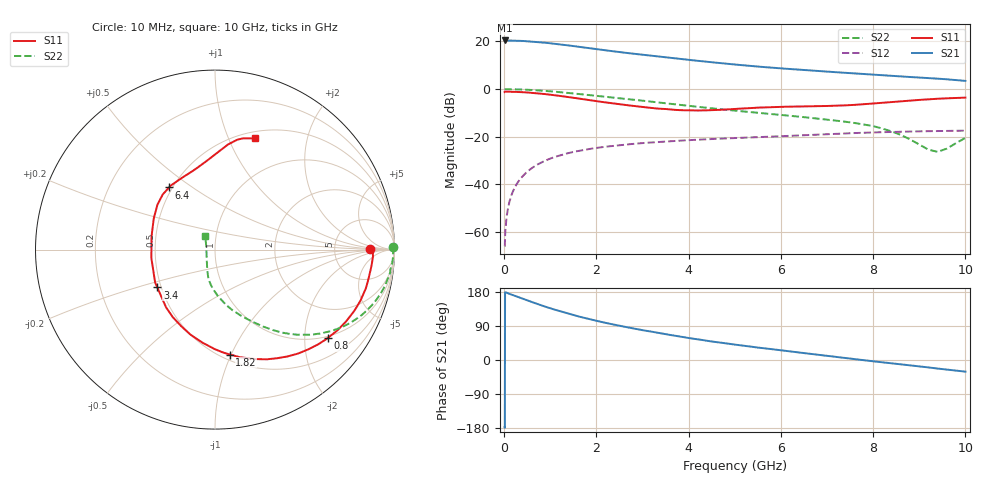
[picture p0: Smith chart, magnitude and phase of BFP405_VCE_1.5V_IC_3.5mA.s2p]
! Infineon Technologies  Discrete & RF Semiconductors
! BFP405
! VCE =  1.5 V,  IC =  3.5 mA
! Common Emitter S-Parameters:  Jan 2016
# GHz  S  MA  R  50
!  f  S11  S21  S12  S22
! GHz  MAG  ANG  MAG  ANG  MAG  ANG  MAG  ANG
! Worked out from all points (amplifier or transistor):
!   233 points, 10 MHz to 10 GHz, reference 50 ohm
!   highest |S21| = 20.4 dB at 10 MHz (marker M1)
!   |S21| within 3 dB of that: start of sweep to 1.751 GHz
!   unconditionally stable (mu >= 1): start of sweep to 13.42 MHz; 3.731 GHz to end of sweep
!   at 200 MHz: K = 0.07, MSG = 31.5 dB, |S12| = -42.6 dB
!   at 1.74 GHz: K = 0.46, MSG = 21.5 dB, |S12| = -25.5 dB
!   at 10 GHz: K = 1.54, MAG = 6.1 dB, |S12| = -17.5 dB
!   S11 on the Smith chart (normalised r, x): 10 MHz: 14, +0; 800 MHz: 0.95, -2.59; 1.82 GHz: 0.55, -0.99; 3.4 GHz: 0.48, -0.24; 6.4 GHz: 0.48, +0.41; 10 GHz: 0.57, +1.26
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0.01  0.8663 0.2  10.48 -177.1  0.0005 -1.9  0.9908 0.8
0.02  0.8797 -0.9  10.43 178.7  0.0008 91.2  0.9907 -0.2
0.08  0.8792 -3.9  10.42 176.2  0.003 86.8  0.9928 -1.8
0.185  0.8723 -8.9  10.4 171.5  0.0069 85.1  0.9896 -4.7
0.5  0.8469 -24.0  10.12 157.5  0.0183 78.0  0.9661 -12.5
0.8  0.7991 -38.1  9.588 144.5  0.0285 70.8  0.9277 -19.5
1  0.7602 -47.1  9.154 136.4  0.0346 66.4  0.8961 -23.9
1.2  0.7191 -55.9  8.698 129.0  0.0402 62.1  0.8615 -28.0
1.42  0.6721 -65.4  8.177 121.2  0.0458 57.9  0.8219 -32.0
1.68  0.6187 -76.2  7.583 112.8  0.0517 53.5  0.7751 -36.3
1.82  0.5902 -82.0  7.267 108.5  0.0545 51.3  0.7509 -38.5
2.2  0.5234 -97.6  6.506 97.9  0.0614 45.9  0.688 -43.6
2.6  0.4664 -113.8  5.816 87.9  0.0676 41.2  0.6268 -48.5
3  0.422 -130.2  5.243 78.7  0.0732 36.8  0.5693 -53.0
3.4  0.3845 -146.7  4.739 70.3  0.078 32.9  0.5152 -57.1
4  0.3577 -172.5  4.103 58.0  0.0844 27.7  0.443 -63.5
5.1  0.3864 150.7  3.208 39.1  0.0942 19.6  0.3444 -74.7
6.4  0.4307 126.5  2.553 19.8  0.1061 12.0  0.2622 -85.8
6.8  0.436 118.6  2.397 13.9  0.1102 9.4  0.2391 -89.4
8.4  0.5339 89.4  1.891 -8.8  0.1255 -2.5  0.1289 -109.0
9.4  0.6251 78.5  1.651 -22.6  0.1312 -9.7  0.0479 178.6
10  0.6595 70.1  1.482 -30.7  0.1337 -13.4  0.0941 125.3
